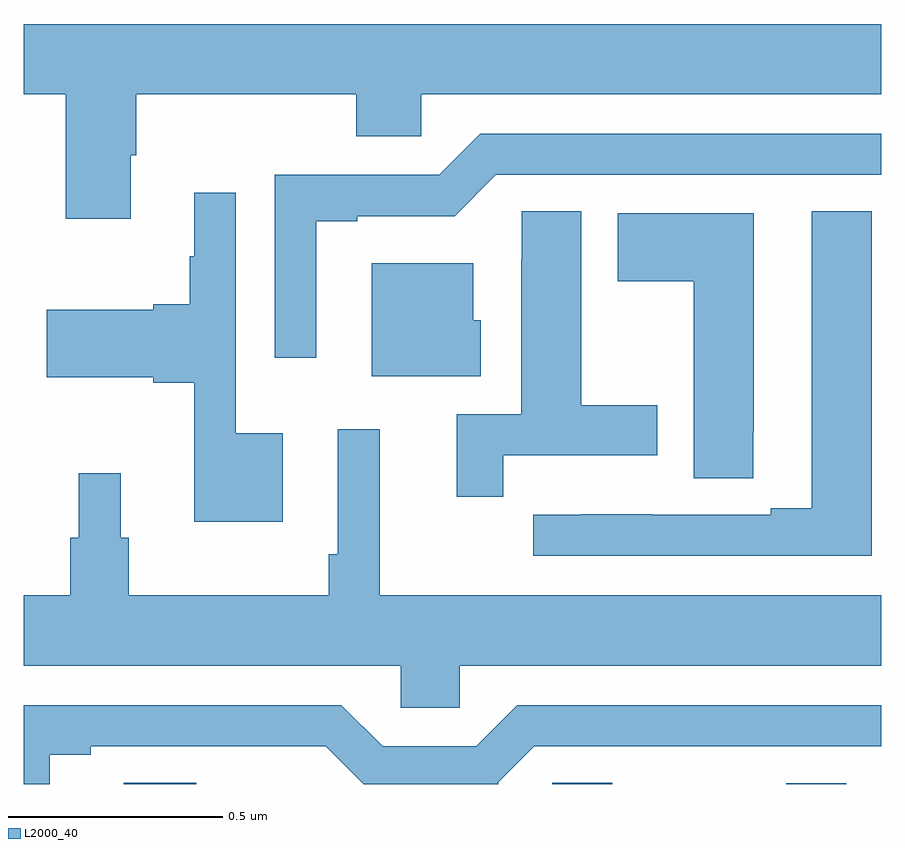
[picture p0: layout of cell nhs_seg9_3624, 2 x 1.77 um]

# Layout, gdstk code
import gdstk
lib = gdstk.Library(unit=1e-6, precision=1e-09)
def R(c, l, rs):  # rectangles x0, y0, x1, y1
    for r in rs: c.add(gdstk.rectangle(r[:2], r[2:], *l))
def P(c, l, *ps):  # polygons
    for p in ps: c.add(gdstk.Polygon(p, *l))
L2000_40 = (2000, 40)

nhs_seg9_3624 = lib.new_cell('nhs_seg9_3624')
R(nhs_seg9_3624, L2000_40, [(156.233,1173.5,156.403,1173.503), (157.233,1173.5,157.372,1173.503), (157.778,1173.5,157.918,1173.502)])
P(nhs_seg9_3624, L2000_40, [(156.25,1174.966),(156.263,1174.966),(156.263,1175.108),(156.776,1175.108),(156.776,1175.01),(156.927,1175.01),(156.927,1175.108),(158,1175.108),(158,1175.272),(156,1175.272),(156,1175.108),(156.098,1175.108),(156.098,1174.818),(156.25,1174.818)],
  [(156.682,1174.812),(156.778,1174.812),(156.778,1174.824),(157.005,1174.824),(157.101,1174.92),(158,1174.92),(158,1175.016),(157.065,1175.016),(156.969,1174.92),(156.585,1174.92),(156.585,1174.494),(156.682,1174.494)],
  [(156.604,1174.318),(156.495,1174.318),(156.495,1174.879),(156.398,1174.879),(156.398,1174.73),(156.387,1174.73),(156.387,1174.619),(156.302,1174.619),(156.302,1174.606),(156.054,1174.606),(156.054,1174.448),(156.302,1174.448),(156.302,1174.436),(156.398,1174.436),(156.398,1174.112),(156.604,1174.112)],
  [(157.978,1174.835),(157.838,1174.835),(157.838,1174.143),(157.742,1174.143),(157.742,1174.128),(157.466,1174.128),(157.466,1174.129),(157.3,1174.129),(157.3,1174.128),(157.188,1174.128),(157.188,1174.032),(157.978,1174.032)],
  [(157.118,1174.266),(157.477,1174.266),(157.477,1174.383),(157.3,1174.383),(157.3,1174.835),(157.161,1174.835),(157.161,1174.724),(157.16,1174.724),(157.16,1174.362),(157.01,1174.362),(157.01,1174.17),(157.118,1174.17)],
  [(157.701,1174.321),(157.702,1174.321),(157.702,1174.831),(157.385,1174.831),(157.385,1174.672),(157.562,1174.672),(157.562,1174.213),(157.701,1174.213)],
  [(157.066,1174.581),(157.048,1174.581),(157.048,1174.714),(156.812,1174.714),(156.812,1174.451),(157.066,1174.451)],
  [(157.017,1173.776),(158,1173.776),(158,1173.94),(156.83,1173.94),(156.83,1174.327),(156.732,1174.327),(156.732,1174.036),(156.712,1174.036),(156.712,1173.94),(156.245,1173.94),(156.245,1174.074),(156.226,1174.074),(156.226,1174.225),(156.128,1174.225),(156.128,1174.074),(156.109,1174.074),(156.109,1173.94),(156,1173.94),(156,1173.776),(156.879,1173.776),(156.879,1173.678),(157.017,1173.678)],
  [(156.061,1173.568),(156.157,1173.568),(156.157,1173.588),(156.705,1173.588),(156.793,1173.5),(157.107,1173.5),(157.107,1173.504),(157.191,1173.588),(158,1173.588),(158,1173.684),(157.151,1173.684),(157.055,1173.588),(156.837,1173.588),(156.741,1173.684),(156,1173.684),(156,1173.5),(156.061,1173.5)])

lib.write_gds('nhs_seg9_3624.gds')
